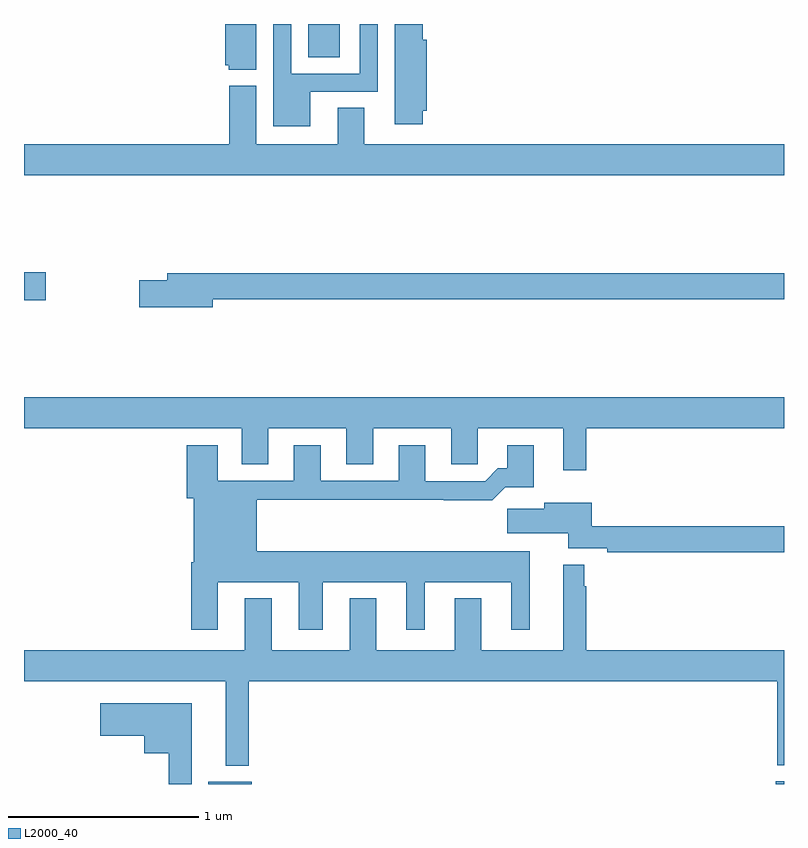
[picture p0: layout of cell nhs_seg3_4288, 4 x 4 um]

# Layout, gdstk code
import gdstk
lib = gdstk.Library(unit=1e-6, precision=1e-09)
def R(c, l, rs):  # rectangles x0, y0, x1, y1
    for r in rs: c.add(gdstk.rectangle(r[:2], r[2:], *l))
def P(c, l, *ps):  # polygons
    for p in ps: c.add(gdstk.Polygon(p, *l))
L2000_40 = (2000, 40)

nhs_seg3_4288 = lib.new_cell('nhs_seg3_4288')
R(nhs_seg3_4288, L2000_40, [(339.971,676.4,340.198,676.411), (342.956,676.4,343,676.414), (339,678.947,339.115,679.094), (340.496,680.224,340.663,680.4)])
P(nhs_seg3_4288, L2000_40, [(340.222,680.4),(340.058,680.4),(340.058,680.184),(340.077,680.184),(340.077,680.159),(340.222,680.159)],
  [(340.507,680.043),(340.863,680.043),(340.863,680.4),(340.767,680.4),(340.767,680.139),(340.407,680.139),(340.407,680.4),(340.311,680.4),(340.311,679.862),(340.507,679.862)],
  [(341.099,679.944),(341.12,679.944),(341.12,680.316),(341.099,680.316),(341.099,680.4),(340.952,680.4),(340.952,679.872),(341.099,679.872)],
  [(343,679.768),(340.792,679.768),(340.792,679.958),(340.652,679.958),(340.652,679.768),(340.222,679.768),(340.222,680.074),(340.079,680.074),(340.079,679.768),(339,679.768),(339,679.604),(343,679.604)],
  [(339.994,678.952),(343,678.952),(343,679.088),(339.755,679.088),(339.755,679.052),(339.606,679.052),(339.606,678.91),(339.994,678.91)],
  [(341.959,678.272),(343,678.272),(343,678.436),(339,678.436),(339,678.272),(340.145,678.272),(340.145,678.082),(340.285,678.082),(340.285,678.272),(340.697,678.272),(340.697,678.082),(340.837,678.082),(340.837,678.272),(341.249,678.272),(341.249,678.082),(341.388,678.082),(341.388,678.272),(341.837,678.272),(341.837,678.051),(341.959,678.051)],
  [(340.021,677.462),(340.445,677.462),(340.445,677.211),(340.573,677.211),(340.573,677.462),(341.012,677.462),(341.012,677.211),(341.11,677.211),(341.11,677.462),(341.564,677.462),(341.564,677.211),(341.662,677.211),(341.662,677.626),(340.225,677.626),(340.225,677.896),(341.209,677.896),(341.209,677.894),(341.465,677.894),(341.534,677.963),(341.683,677.963),(341.683,678.184),(341.543,678.184),(341.543,678.061),(341.494,678.061),(341.427,677.994),(341.113,677.994),(341.113,678.184),(340.973,678.184),(340.973,677.997),(340.561,677.997),(340.561,678.184),(340.421,678.184),(340.421,677.997),(340.021,677.997),(340.021,678.184),(339.857,678.184),(339.857,677.904),(339.893,677.904),(339.893,677.566),(339.881,677.566),(339.881,677.211),(340.021,677.211)],
  [(343,677.756),(341.987,677.756),(341.987,677.881),(341.738,677.881),(341.738,677.849),(341.544,677.849),(341.544,677.72),(341.864,677.72),(341.864,677.64),(342.07,677.64),(342.07,677.62),(343,677.62)],
  [(340.183,676.94),(342.965,676.94),(342.965,676.499),(343,676.499),(343,677.104),(341.959,677.104),(341.959,677.441),(341.948,677.441),(341.948,677.554),(341.837,677.554),(341.837,677.104),(341.407,677.104),(341.407,677.377),(341.267,677.377),(341.267,677.104),(340.855,677.104),(340.855,677.377),(340.715,677.377),(340.715,677.104),(340.303,677.104),(340.303,677.377),(340.163,677.377),(340.163,677.104),(339,677.104),(339,676.94),(340.061,676.94),(340.061,676.496),(340.183,676.496)],
  [(339.883,676.825),(339.402,676.825),(339.402,676.655),(339.632,676.655),(339.632,676.562),(339.762,676.562),(339.762,676.4),(339.883,676.4)])

lib.write_gds('nhs_seg3_4288.gds')
